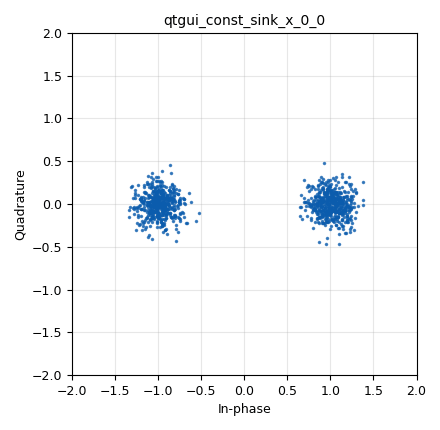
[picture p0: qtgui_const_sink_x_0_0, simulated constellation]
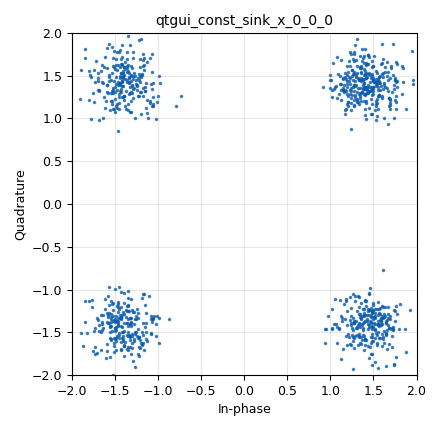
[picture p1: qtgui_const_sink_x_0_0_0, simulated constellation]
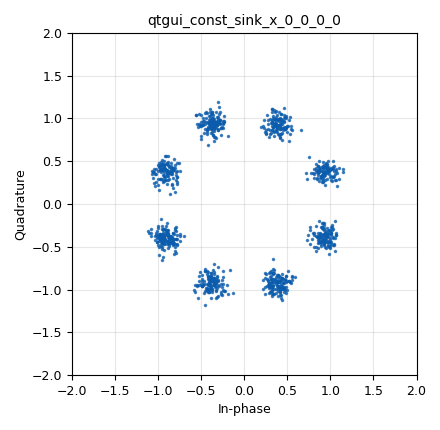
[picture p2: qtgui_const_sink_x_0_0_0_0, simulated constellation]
options:
  parameters:
    author: pawav
    generate_options: qt_gui
    id: todasPSK
    output_language: python
    title: Not titled yet
  states: {}

blocks:
- name: Eb_N0_dB
  id: variable
  parameters:
    value: '11'
  states: {}
- name: Noise_Amplitude_8psk
  id: variable
  parameters:
    value: (1 / (2 * v_8psk_bits_per_symbol * 10**(Eb_N0_dB/10)))**0.5
  states: {}
- name: Noise_Amplitude_bpsk
  id: variable
  parameters:
    value: (1 / (2 * 1 * 10**(Eb_N0_dB/10)))**0.5
  states: {}
- name: Noise_Amplitude_qpsk
  id: variable
  parameters:
    value: (4 / (2 * qpsk_bits_per_symbol * 10**(Eb_N0_dB/10)))**0.5
  states: {}
- name: bpsk_arity_0
  id: variable
  parameters:
    value: digital.constellation_bpsk().arity()
  states: {}
- name: bpsk_bits_per_symbol
  id: variable
  parameters:
    value: digital.constellation_bpsk().bits_per_symbol()
  states: {}
- name: bpsk_const
  id: variable
  parameters:
    value: digital.constellation_bpsk().base()
  states: {}
- name: bpsk_points
  id: variable
  parameters:
    value: digital.constellation_bpsk().points()
  states: {}
- name: qpsk_arity
  id: variable
  parameters:
    value: digital.constellation_qpsk().arity()
  states: {}
- name: qpsk_bits_per_symbol
  id: variable
  parameters:
    value: digital.constellation_qpsk().bits_per_symbol()
  states: {}
- name: qpsk_const
  id: variable
  parameters:
    value: digital.constellation_qpsk().base()
  states: {}
- name: qpsk_points
  id: variable
  parameters:
    value: digital.constellation_qpsk().points()
  states: {}
- name: samp_rate
  id: variable
  parameters:
    value: '32000'
  states: {}
- name: temp
  id: variable
  parameters:
    value: print(digital.constellation_8psk().points()) or 1
  states: {}
- name: v_8psk__points
  id: variable
  parameters:
    value: digital.constellation_8psk().points()
  states: {}
- name: v_8psk_arity
  id: variable
  parameters:
    value: digital.constellation_8psk().arity()
  states: {}
- name: v_8psk_bits_per_symbol
  id: variable
  parameters:
    value: digital.constellation_8psk().bits_per_symbol()
  states: {}
- name: v_8psk_const
  id: variable
  parameters:
    value: digital.constellation_8psk().base()
  states: {}
- name: analog_noise_source_x_0
  id: analog_noise_source_x
  parameters:
    amp: Noise_Amplitude_bpsk
    noise_type: analog.GR_GAUSSIAN
    seed: '0'
    type: complex
  states: {}
- name: analog_noise_source_x_0_0
  id: analog_noise_source_x
  parameters:
    amp: Noise_Amplitude_qpsk
    noise_type: analog.GR_GAUSSIAN
    seed: '0'
    type: complex
  states: {}
- name: analog_noise_source_x_0_0_0
  id: analog_noise_source_x
  parameters:
    amp: Noise_Amplitude_8psk
    noise_type: analog.GR_GAUSSIAN
    seed: '0'
    type: complex
  states: {}
- name: analog_random_source_x_0_0
  id: analog_random_source_x
  parameters:
    max: '2'
    min: '0'
    num_samps: '1000'
    repeat: 'True'
    type: byte
  states: {}
- name: analog_random_source_x_0_0_0
  id: analog_random_source_x
  parameters:
    max: '2'
    min: '0'
    num_samps: '1000'
    repeat: 'True'
    type: byte
  states: {}
- name: analog_random_source_x_0_0_0_0
  id: analog_random_source_x
  parameters:
    max: '2'
    min: '0'
    num_samps: '1000'
    repeat: 'True'
    type: byte
  states: {}
- name: blocks_add_xx_0
  id: blocks_add_xx
  parameters:
    type: complex
  states: {}
- name: blocks_add_xx_0_0
  id: blocks_add_xx
  parameters:
    type: complex
  states: {}
- name: blocks_add_xx_0_0_0
  id: blocks_add_xx
  parameters:
    type: complex
  states: {}
- name: blocks_pack_k_bits_bb_0
  id: blocks_pack_k_bits_bb
  parameters:
    k: digital.constellation_qpsk().bits_per_symbol()
  states: {}
- name: blocks_pack_k_bits_bb_0_0
  id: blocks_pack_k_bits_bb
  parameters:
    k: digital.constellation_8psk().bits_per_symbol()
  states: {}
- name: blocks_unpack_k_bits_bb_0
  id: blocks_unpack_k_bits_bb
  parameters:
    k: digital.constellation_qpsk().bits_per_symbol()
  states: {}
- name: blocks_unpack_k_bits_bb_0_0
  id: blocks_unpack_k_bits_bb
  parameters:
    k: digital.constellation_8psk().bits_per_symbol()
  states: {}
- name: digital_chunks_to_symbols_xx_0_0
  id: digital_chunks_to_symbols_xx
  parameters:
    dimension: '1'
    in_type: byte
    out_type: complex
    symbol_table: bpsk_points
  states: {}
- name: digital_chunks_to_symbols_xx_0_0_0
  id: digital_chunks_to_symbols_xx
  parameters:
    dimension: '1'
    in_type: byte
    out_type: complex
    symbol_table: qpsk_points
  states: {}
- name: digital_chunks_to_symbols_xx_0_0_0_0
  id: digital_chunks_to_symbols_xx
  parameters:
    dimension: '1'
    in_type: byte
    out_type: complex
    symbol_table: v_8psk__points
  states: {}
- name: digital_constellation_decoder_cb_0
  id: digital_constellation_decoder_cb
  parameters:
    constellation: bpsk_const
  states: {}
- name: digital_constellation_decoder_cb_0_0
  id: digital_constellation_decoder_cb
  parameters:
    constellation: qpsk_const
  states: {}
- name: digital_constellation_decoder_cb_0_0_0
  id: digital_constellation_decoder_cb
  parameters:
    constellation: v_8psk_const
  states: {}
- name: fec_ber_bf_0
  id: fec_ber_bf
  parameters:
    test_mode: 'False'
  states: {}
- name: fec_ber_bf_0_0
  id: fec_ber_bf
  parameters:
    test_mode: 'False'
  states: {}
- name: fec_ber_bf_0_0_0
  id: fec_ber_bf
  parameters:
    test_mode: 'False'
  states: {}
- name: note_0_0
  id: note
  parameters:
    note: BPSK
  states: {}
- name: note_0_0_0
  id: note
  parameters:
    note: QPSK
  states: {}
- name: note_0_0_0_0
  id: note
  parameters:
    note: 8PSK
  states: {}
- name: qtgui_const_sink_x_0_0
  id: qtgui_const_sink_x
  parameters:
    size: '1024'
    type: complex
  states: {}
- name: qtgui_const_sink_x_0_0_0
  id: qtgui_const_sink_x
  parameters:
    size: '1024'
    type: complex
  states: {}
- name: qtgui_const_sink_x_0_0_0_0
  id: qtgui_const_sink_x
  parameters:
    size: '1024'
    type: complex
  states: {}
- name: qtgui_number_sink_0
  id: qtgui_number_sink
  parameters:
    graph_type: qtgui.NUM_GRAPH_HORIZ
    type: float
  states: {}
- name: qtgui_number_sink_0_0
  id: qtgui_number_sink
  parameters:
    graph_type: qtgui.NUM_GRAPH_HORIZ
    type: float
  states: {}
- name: qtgui_number_sink_0_0_0
  id: qtgui_number_sink
  parameters:
    graph_type: qtgui.NUM_GRAPH_HORIZ
    type: float
  states: {}

connections:
- [analog_noise_source_x_0, '0', blocks_add_xx_0, '1']
- [analog_noise_source_x_0_0, '0', blocks_add_xx_0_0, '1']
- [analog_noise_source_x_0_0_0, '0', blocks_add_xx_0_0_0, '1']
- [analog_random_source_x_0_0, '0', digital_chunks_to_symbols_xx_0_0, '0']
- [analog_random_source_x_0_0, '0', fec_ber_bf_0, '0']
- [analog_random_source_x_0_0_0, '0', blocks_pack_k_bits_bb_0, '0']
- [analog_random_source_x_0_0_0, '0', fec_ber_bf_0_0, '0']
- [analog_random_source_x_0_0_0_0, '0', blocks_pack_k_bits_bb_0_0, '0']
- [analog_random_source_x_0_0_0_0, '0', fec_ber_bf_0_0_0, '0']
- [blocks_add_xx_0, '0', digital_constellation_decoder_cb_0, '0']
- [blocks_add_xx_0, '0', qtgui_const_sink_x_0_0, '0']
- [blocks_add_xx_0_0, '0', digital_constellation_decoder_cb_0_0, '0']
- [blocks_add_xx_0_0, '0', qtgui_const_sink_x_0_0_0, '0']
- [blocks_add_xx_0_0_0, '0', digital_constellation_decoder_cb_0_0_0, '0']
- [blocks_add_xx_0_0_0, '0', qtgui_const_sink_x_0_0_0_0, '0']
- [blocks_pack_k_bits_bb_0, '0', digital_chunks_to_symbols_xx_0_0_0, '0']
- [blocks_pack_k_bits_bb_0_0, '0', digital_chunks_to_symbols_xx_0_0_0_0, '0']
- [blocks_unpack_k_bits_bb_0, '0', fec_ber_bf_0_0, '1']
- [blocks_unpack_k_bits_bb_0_0, '0', fec_ber_bf_0_0_0, '1']
- [digital_chunks_to_symbols_xx_0_0, '0', blocks_add_xx_0, '0']
- [digital_chunks_to_symbols_xx_0_0_0, '0', blocks_add_xx_0_0, '0']
- [digital_chunks_to_symbols_xx_0_0_0_0, '0', blocks_add_xx_0_0_0, '0']
- [digital_constellation_decoder_cb_0, '0', fec_ber_bf_0, '1']
- [digital_constellation_decoder_cb_0_0, '0', blocks_unpack_k_bits_bb_0, '0']
- [digital_constellation_decoder_cb_0_0_0, '0', blocks_unpack_k_bits_bb_0_0, '0']
- [fec_ber_bf_0, '0', qtgui_number_sink_0, '0']
- [fec_ber_bf_0_0, '0', qtgui_number_sink_0_0, '0']
- [fec_ber_bf_0_0_0, '0', qtgui_number_sink_0_0_0, '0']

metadata:
  file_format: 1
  grc_version: 3.10.12.0
